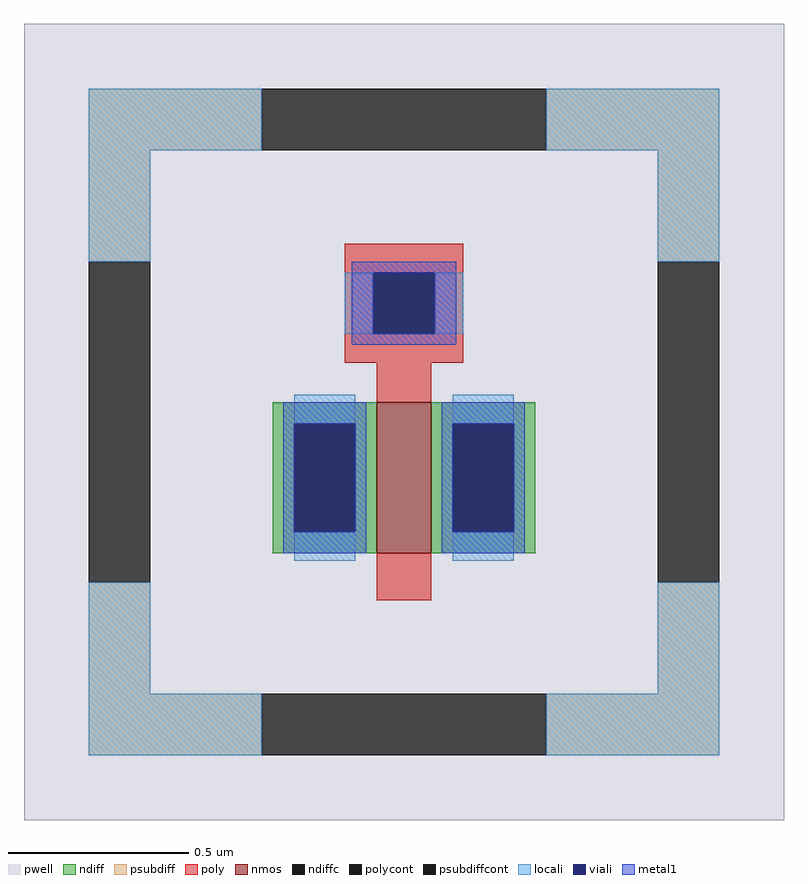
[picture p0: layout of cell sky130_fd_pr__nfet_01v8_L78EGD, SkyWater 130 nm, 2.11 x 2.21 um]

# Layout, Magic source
magic
tech sky130A
magscale 1 2
<< pwell >>
rect -211 -221 211 221
<< nmos >>
rect -15 -73 15 11
<< ndiff >>
rect -73 -1 -15 11
rect -73 -61 -61 -1
rect -27 -61 -15 -1
rect -73 -73 -15 -61
rect 15 -1 73 11
rect 15 -61 27 -1
rect 61 -61 73 -1
rect 15 -73 73 -61
<< ndiffc >>
rect -61 -61 -27 -1
rect 27 -61 61 -1
<< psubdiff >>
rect -175 151 -79 185
rect 79 151 175 185
rect -175 89 -141 151
rect 141 89 175 151
rect -175 -151 -141 -89
rect 141 -151 175 -89
rect -175 -185 -79 -151
rect 79 -185 175 -151
<< psubdiffcont >>
rect -79 151 79 185
rect -175 -89 -141 89
rect 141 -89 175 89
rect -79 -185 79 -151
<< poly >>
rect -33 83 33 99
rect -33 49 -17 83
rect 17 49 33 83
rect -33 33 33 49
rect -15 11 15 33
rect -15 -99 15 -73
<< polycont >>
rect -17 49 17 83
<< locali >>
rect -175 151 -79 185
rect 79 151 175 185
rect -175 89 -141 151
rect 141 89 175 151
rect -33 49 -17 83
rect 17 49 33 83
rect -61 -1 -27 15
rect -61 -77 -27 -61
rect 27 -1 61 15
rect 27 -77 61 -61
rect -175 -151 -141 -89
rect 141 -151 175 -89
rect -175 -185 -79 -151
rect 79 -185 175 -151
<< viali >>
rect -17 49 17 83
rect -61 -61 -27 -1
rect 27 -61 61 -1
<< metal1 >>
rect -29 83 29 89
rect -29 49 -17 83
rect 17 49 29 83
rect -29 43 29 49
rect -67 -1 -21 11
rect -67 -61 -61 -1
rect -27 -61 -21 -1
rect -67 -73 -21 -61
rect 21 -1 67 11
rect 21 -61 27 -1
rect 61 -61 67 -1
rect 21 -73 67 -61
<< properties >>
string FIXED_BBOX -158 -168 158 168
string gencell sky130_fd_pr__nfet_01v8
string library sky130
string parameters w 0.42 l 0.15 m 1 nf 1 diffcov 100 polycov 100 guard 1 glc 1 grc 1 gtc 1 gbc 1 tbcov 100 rlcov 100 topc 1 botc 0 poverlap 0 doverlap 1 lmin 0.15 wmin 0.42 compatible {sky130_fd_pr__nfet_01v8 sky130_fd_pr__nfet_01v8_lvt  sky130_fd_bs_flash__special_sonosfet_star  sky130_fd_pr__nfet_g5v0d10v5 sky130_fd_pr__nfet_05v0_nvt  sky130_fd_pr__nfet_03v3_nvt} full_metal 1 viasrc 100 viadrn 100 viagate 100 viagb 0 viagr 0 viagl 0 viagt 0
<< end >>
